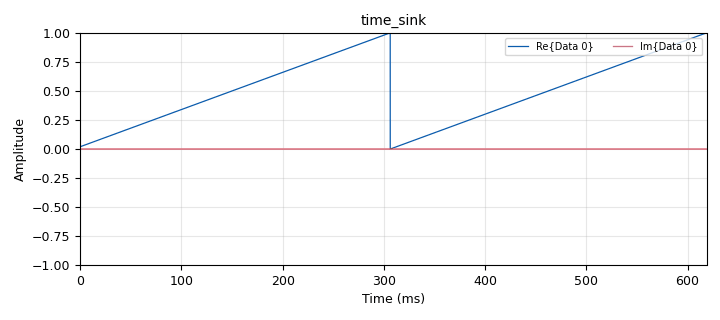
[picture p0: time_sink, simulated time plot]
options:
  parameters:
    author: J. Gilbert
    copyright: 2021 J. Gilbert
    description: Simple example of generating periodic bursts from PDUs
    generate_options: qt_gui
    id: simple_pdu_to_stream_example
    output_language: python
    title: Simple PDU To Stream Example
  states: {}

blocks:
- name: N
  id: variable
  parameters:
    value: '10000'
  states: {}
- name: samp_rate
  id: variable
  parameters:
    value: '32000'
  states: {}
- name: v
  id: variable
  parameters:
    value: pmt.init_c32vector(N,np.arange(N).tolist())
  states: {}
- name: imp
  id: import
  parameters:
    imports: import numpy as np
  states: {}
- name: multiply
  id: blocks_multiply_const_vxx
  parameters:
    const: 1/N
    type: complex
  states: {}
- name: note
  id: note
  parameters:
    comment: |-
      This is a simple example showing how the PDU to Stream block can
      convert PDU data to streaming data for transmission from a SDR
      such as a USRP including the addition of appropriate stream tags.
    note: Flowgraph Summary
  states: {}
- name: pdu2stream
  id: pdu_pdu_to_stream_x
  parameters:
    early_behavior: pdu.EARLY_BURST_APPEND
    type: complex
  states: {}
- name: pdu_set
  id: pdu_pdu_set
  parameters:
    k: pmt.intern("tx_time")
    v: pmt.make_tuple(pmt.from_uint64(1),pmt.from_double(0.1234))
  states: {}
- name: strobe
  id: blocks_message_strobe
  parameters:
    msg: pmt.cons(pmt.PMT_NIL, v)
    period: '1000'
  states: {}
- name: time_sink
  id: qtgui_time_sink_x
  parameters:
    size: int(N*1.98)
    srate: samp_rate
    type: complex
  states: {}

connections:
- [multiply, '0', time_sink, '0']
- [pdu2stream, '0', multiply, '0']
- [pdu_set, pdus, pdu2stream, pdus]
- [strobe, strobe, pdu_set, pdus]

metadata:
  file_format: 1
